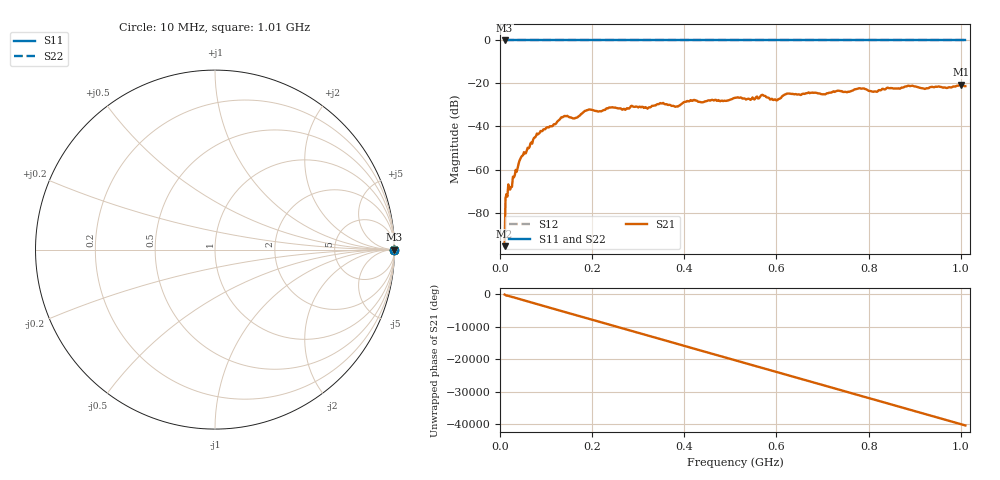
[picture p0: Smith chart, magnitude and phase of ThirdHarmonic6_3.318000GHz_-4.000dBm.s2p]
! 8/17/2025 10:23:16 AM
! C:\ANRITSUVNA\TEMP\TEMP.S2P
! CHANNEL.1
! TR.MEASUREMENT
! RAW.DATA
! RF.CORRECTION.OFF
! AVERAGING.OFF
! IF.BANDWIDTH: 5KHZ
! SWEEPTYPE:  FREQ.SWEEP(Linear)
! Reference Plane Port Info
! PORT:  PORT1  PORT2
! DISTANCE:  0  m  0  m
! TIME:  0  s  0  s
! PHASE.OFFSET:  0  deg.  0  deg.
! LOSS:  0  dB  0  dB
! REF.LOSS:  0  dB  0  dB
! REF.FREQ:  0  Hz  0  Hz
! Power Info
! POWER:  -20  dBm  -20  dBm
! EFF.POWER:  -20  dBm  -20  dBm
! SOURCE.ATTEN:  0  dB  0  dB
! TEST.ATTEN:  0  dB  0  dB
# GHZ S RI R 50.0
! FREQ.GHZ  S11RE  S11IM  S21RE  S21IM  S12RE  S12IM  S22RE  S22IM
!; PortSelection: Port_12
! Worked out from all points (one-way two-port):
!   501 points, 10 MHz to 1.01 GHz, reference 50 ohm
!   highest |S21| = -20.54 dB at 1 GHz (marker M1); lowest = -95.6 dB at 10 MHz (marker M2)
!   lowest |S11| = 0.0 dB at 10 MHz (marker M3)
!   |S11| at or under -10 dB: nowhere
!   |S22| runs from 0.0 to 0.0 dB; largest |S21 - S12| = 1.1
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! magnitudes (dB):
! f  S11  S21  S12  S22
! 10 MHz  0.0  -95.6  0.0  0.0
! 16 MHz  0.0  -72.6  0.0  0.0
! 26 MHz  0.0  -68.1  0.0  0.0
! 44 MHz  0.0  -55.2  0.0  0.0
! 76 MHz  0.0  -45.1  0.0  0.0
! 136 MHz  0.0  -35.7  0.0  0.0
! 162 MHz  0.0  -36.2  0.0  0.0
! 178 MHz  0.0  -34.0  0.0  0.0
! 192 MHz  0.0  -32.2  0.0  0.0
! 322 MHz  0.0  -31.2  0.0  0.0
! 344 MHz  0.0  -29.7  0.0  0.0
! 382 MHz  0.0  -30.8  0.0  0.0
! 418 MHz  0.0  -28.1  0.0  0.0
! 510 MHz  0.0  -26.7  0.0  0.0
! 570 MHz  0.0  -25.3  0.0  0.0
! 598 MHz  0.0  -27.4  0.0  0.0
! 622 MHz  0.0  -24.7  0.0  0.0
! 678 MHz  0.0  -24.2  0.0  0.0
! 814 MHz  0.0  -23.7  0.0  0.0
! 844 MHz  0.0  -22.2  0.0  0.0
! 1 GHz  0.0  -20.5  0.0  0.0
! 1.01 GHz  0.0  -21.2  0.0  0.0
